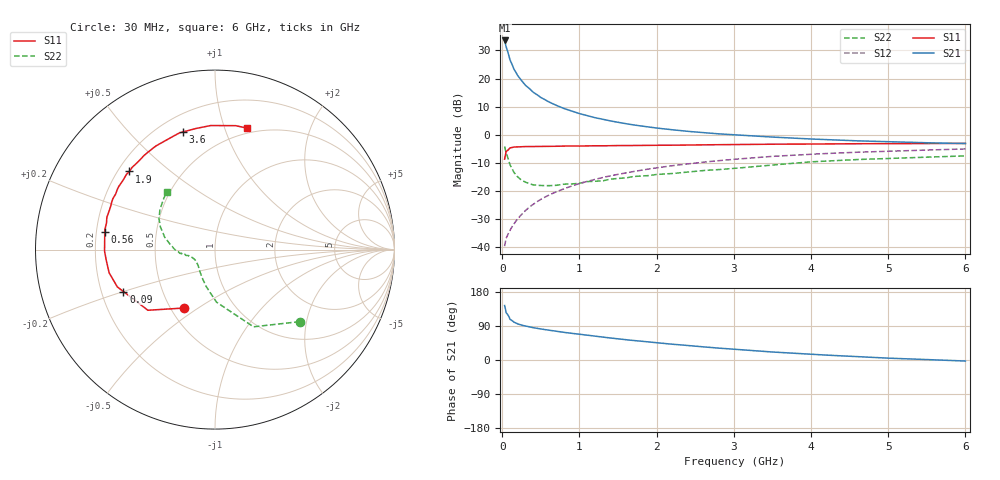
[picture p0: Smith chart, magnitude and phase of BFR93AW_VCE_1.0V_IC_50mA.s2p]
! Infineon Technologies  Discrete & RF Semiconductors
! BFR93AW
! VCE =  1.0 V,  IC =  50 mA
! Common Emitter S-Parameters:  Nov 2015
# GHz  S  MA  R  50
!  f  S11  S21  S12  S22
! GHz  MAG  ANG  MAG  ANG  MAG  ANG  MAG  ANG
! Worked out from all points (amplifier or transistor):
!   206 points, 30 MHz to 6 GHz, reference 50 ohm
!   highest |S21| = 33.5 dB at 30 MHz (marker M1)
!   |S21| within 3 dB of that: start of sweep to 58.92 MHz
!   unconditionally stable (mu >= 1): 186.8 MHz to end of sweep
!   at 200 MHz: K = 1.03, MAG = 24.5 dB, |S12| = -29.9 dB
!   at 1.56 GHz: K = 1.12, MAG = 6.8 dB, |S12| = -13.8 dB
!   at 6 GHz: K = 1.02, MAG = 0.1 dB, |S12| = -5.1 dB
!   S11 on the Smith chart (normalised r, x): 30 MHz: 0.59, -0.44; 90 MHz: 0.29, -0.20; 560 MHz: 0.23, +0.08; 1.9 GHz: 0.25, +0.37; 3.6 GHz: 0.30, +0.72; 6 GHz: 0.45, +1.19
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0.03  0.3677 -117.8  47.53 143.7  0.0104 64.1  0.6193 -40.4
0.05  0.504 -137.9  36.51 124.6  0.0144 58.7  0.4807 -63.5
0.09  0.5612 -155.4  24.16 112.5  0.0188 59.8  0.3239 -81.2
0.1  0.5825 -159.1  21.37 107.3  0.0199 60.0  0.2927 -88.4
0.15  0.6039 -167.6  14.75 99.9  0.0258 62.8  0.2145 -102.7
0.2  0.6071 -172.7  11.25 95.2  0.0319 66.4  0.1772 -112.9
0.24  0.6106 -176.0  9.482 92.8  0.0368 68.1  0.1594 -119.4
0.3  0.6154 -179.3  7.575 89.4  0.0447 70.1  0.1432 -127.2
0.4  0.6165 176.0  5.709 85.3  0.0577 71.7  0.1281 -137.7
0.5  0.6199 172.4  4.597 81.7  0.0709 72.2  0.1249 -145.9
0.56  0.622 170.8  4.147 80.0  0.0786 72.4  0.1241 -148.7
0.7  0.6225 166.1  3.328 75.7  0.0964 72.0  0.1258 -154.4
0.8  0.6287 163.5  2.924 72.9  0.1093 71.6  0.1319 -158.5
1.04  0.6302 157.0  2.296 66.8  0.1402 69.4  0.1407 -163.1
1.4  0.639 148.6  1.761 58.0  0.1856 65.9  0.1621 -168.3
1.9  0.6455 137.6  1.37 47.4  0.2461 60.3  0.1873 -173.7
2.02  0.6502 134.9  1.304 45.0  0.2593 58.8  0.1971 -174.0
3.1  0.6679 113.9  0.976 27.0  0.3737 45.5  0.2584 171.8
3.6  0.6794 105.3  0.893 19.9  0.4191 39.4  0.2966 164.1
4.1  0.6839 97.6  0.828 13.9  0.4563 33.2  0.3344 156.1
5.1  0.6933 84.9  0.742 4.2  0.5137 22.3  0.3827 142.4
6  0.6997 75.3  0.697 -2.7  0.5581 13.6  0.4194 129.9
